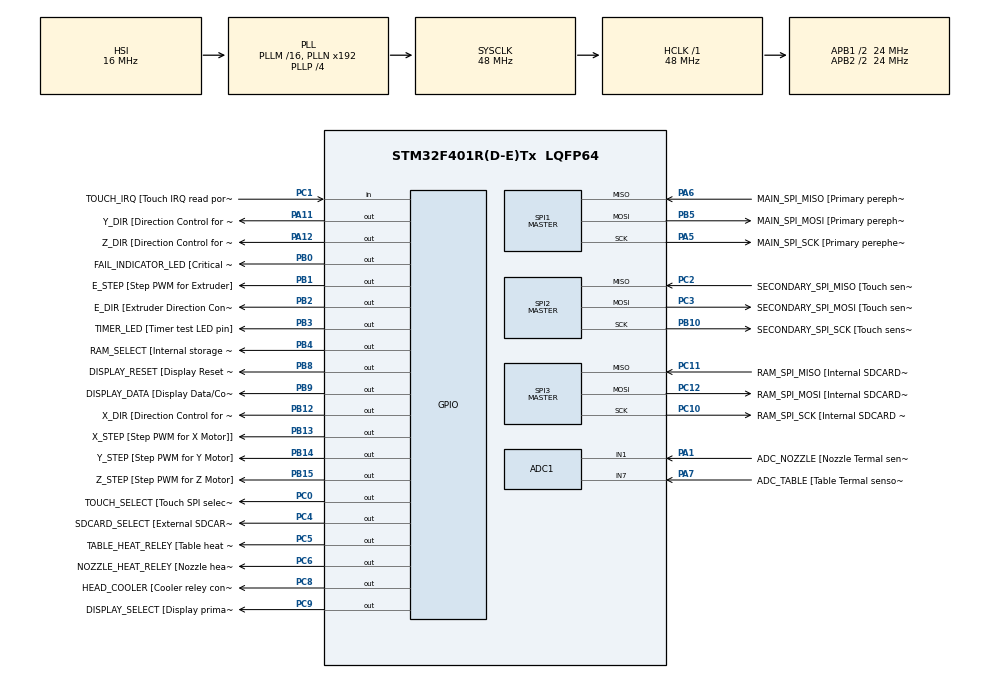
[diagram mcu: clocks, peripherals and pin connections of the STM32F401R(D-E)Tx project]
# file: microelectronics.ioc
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ADC1.Channel-0\#ChannelRegularConversion=ADC_CHANNEL_1
ADC1.Channel-1\#ChannelRegularConversion=ADC_CHANNEL_7
ADC1.ClockPrescaler=ADC_CLOCK_SYNC_PCLK_DIV8
ADC1.NbrOfConversion=2
ADC1.NbrOfConversionFlag=1
ADC1.Rank-0\#ChannelRegularConversion=1
ADC1.Rank-1\#ChannelRegularConversion=2
ADC1.SamplingTime-0\#ChannelRegularConversion=ADC_SAMPLETIME_144CYCLES
ADC1.SamplingTime-1\#ChannelRegularConversion=ADC_SAMPLETIME_144CYCLES
ADC1.master=1
Dma.ADC1.0.Direction=DMA_PERIPH_TO_MEMORY
Dma.ADC1.0.FIFOMode=DMA_FIFOMODE_DISABLE
Dma.ADC1.0.Instance=DMA2_Stream0
Dma.ADC1.0.MemDataAlignment=DMA_MDATAALIGN_HALFWORD
Dma.ADC1.0.MemInc=DMA_MINC_ENABLE
Dma.ADC1.0.Mode=DMA_NORMAL
Dma.ADC1.0.PeriphDataAlignment=DMA_PDATAALIGN_HALFWORD
Dma.ADC1.0.PeriphInc=DMA_PINC_DISABLE
Dma.ADC1.0.Priority=DMA_PRIORITY_LOW
Dma.Request0=ADC1
Mcu.Family=STM32F4
Mcu.Name=STM32F401R(D-E)Tx
Mcu.Package=LQFP64
NVIC.DMA2_Stream0_IRQn=true\:0\:0\:false\:false\:true\:false\:true
NVIC.PriorityGroup=NVIC_PRIORITYGROUP_4
NVIC.TIM3_IRQn=true\:0\:0\:false\:false\:true\:true\:true
PA1.GPIO_Label=ADC_NOZZLE [Nozzle Termal sensor]
PA1.Signal=ADCx_IN1
PA11.GPIO_Label=Y_DIR [Direction Control for Y Motor]
PA11.Signal=GPIO_Output
PA12.GPIO_Label=Z_DIR [Direction Control for Z Motor]
PA12.Signal=GPIO_Output
PA5.GPIO_Label=MAIN_SPI_SCK [Primary perepherial interface]
PA5.Mode=Full_Duplex_Master
PA5.Signal=SPI1_SCK
PA6.GPIO_Label=MAIN_SPI_MISO [Primary perepherial interface]
PA6.Mode=Full_Duplex_Master
PA6.Signal=SPI1_MISO
PA7.GPIO_Label=ADC_TABLE [Table Termal sensor]
PA7.Signal=ADCx_IN7
PB0.GPIO_Label=FAIL_INDICATOR_LED [Critical Failure Detector LED]
PB0.Signal=GPIO_Output
PB1.GPIO_Label=E_STEP [Step PWM for Extruder]
PB1.Signal=GPIO_Output
PB10.GPIO_Label=SECONDARY_SPI_SCK [Touch sensor interface]
PB10.Mode=Full_Duplex_Master
PB10.Signal=SPI2_SCK
PB12.GPIO_Label=X_DIR [Direction Control for X Motor]
PB12.Signal=GPIO_Output
PB13.GPIO_Label=X_STEP [Step PWM for X Motor]]
PB13.Signal=GPIO_Output
PB14.GPIO_Label=Y_STEP [Step PWM for Y Motor]
PB14.Signal=GPIO_Output
PB15.GPIO_Label=Z_STEP [Step PWM for Z Motor]
PB15.Signal=GPIO_Output
PB2.GPIO_Label=E_DIR [Extruder Direction Control]
PB2.Signal=GPIO_Output
PB3.GPIO_Label=TIMER_LED [Timer test LED pin]
PB3.Signal=GPIO_Output
PB4.GPIO_Label=RAM_SELECT [Internal storage SPI selector]
PB4.Signal=GPIO_Output
PB5.GPIO_Label=MAIN_SPI_MOSI [Primary perepherial interface]
PB5.Mode=Full_Duplex_Master
PB5.Signal=SPI1_MOSI
PB8.GPIO_Label=DISPLAY_RESET [Display Reset Signal]
PB8.Signal=GPIO_Output
PB9.GPIO_Label=DISPLAY_DATA [Display Data/Command switch]
PB9.Signal=GPIO_Output
PC0.GPIO_Label=TOUCH_SELECT [Touch SPI selector]
PC0.Signal=GPIO_Output
PC1.GPIO_Label=TOUCH_IRQ [Touch IRQ read port]
PC1.Signal=GPIO_Input
PC10.GPIO_Label=RAM_SPI_SCK [Internal SDCARD connection]
PC10.Mode=Full_Duplex_Master
PC10.Signal=SPI3_SCK
PC11.GPIO_Label=RAM_SPI_MISO [Internal SDCARD connection]
PC11.Mode=Full_Duplex_Master
PC11.Signal=SPI3_MISO
PC12.GPIO_Label=RAM_SPI_MOSI [Internal SDCARD connection]
PC12.Mode=Full_Duplex_Master
PC12.Signal=SPI3_MOSI
PC2.GPIO_Label=SECONDARY_SPI_MISO [Touch sensor interface]
PC2.Mode=Full_Duplex_Master
PC2.Signal=SPI2_MISO
PC3.GPIO_Label=SECONDARY_SPI_MOSI [Touch sensor interface]
PC3.Mode=Full_Duplex_Master
PC3.Signal=SPI2_MOSI
PC4.GPIO_Label=SDCARD_SELECT [External SDCARD primary SPI select]
PC4.Signal=GPIO_Output
PC5.GPIO_Label=TABLE_HEAT_RELEY [Table heat reley]
PC5.Signal=GPIO_Output
PC6.GPIO_Label=NOZZLE_HEAT_RELEY [Nozzle heat reley]
PC6.Signal=GPIO_Output
PC8.GPIO_Label=HEAD_COOLER [Cooler reley controller]
PC8.Signal=GPIO_Output
PC9.GPIO_Label=DISPLAY_SELECT [Display primary SPI  selector]
PC9.Signal=GPIO_Output
ProjectManager.HeapSize=0xf000
ProjectManager.StackSize=0x400
ProjectManager.TargetToolchain=MDK-ARM V5.27
RCC.48MHZClocksFreq_Value=48000000
RCC.AHBFreq_Value=48000000
RCC.APB1CLKDivider=RCC_HCLK_DIV2
RCC.APB1Freq_Value=24000000
RCC.APB1TimFreq_Value=48000000
RCC.APB2CLKDivider=RCC_HCLK_DIV2
RCC.APB2Freq_Value=24000000
RCC.APB2TimFreq_Value=48000000
RCC.CortexFreq_Value=48000000
RCC.HCLKFreq_Value=48000000
RCC.HSE_VALUE=25000000
RCC.HSI_VALUE=16000000
RCC.LSE_VALUE=32768
RCC.PLLP=RCC_PLLP_DIV4
RCC.SYSCLKFreq_VALUE=48000000
RCC.SYSCLKSource=RCC_SYSCLKSOURCE_PLLCLK
RCC.VCOOutputFreq_Value=192000000
SH.ADCx_IN1.0=ADC1_IN1,IN1
SH.ADCx_IN7.0=ADC1_IN7,IN7
SPI1.BaudRatePrescaler=SPI_BAUDRATEPRESCALER_16
SPI1.Direction=SPI_DIRECTION_2LINES
SPI1.Mode=SPI_MODE_MASTER
SPI1.VirtualType=VM_MASTER
SPI2.BaudRatePrescaler=SPI_BAUDRATEPRESCALER_64
SPI2.Direction=SPI_DIRECTION_2LINES
SPI2.Mode=SPI_MODE_MASTER
SPI2.VirtualType=VM_MASTER
SPI3.BaudRatePrescaler=SPI_BAUDRATEPRESCALER_8
SPI3.Direction=SPI_DIRECTION_2LINES
SPI3.Mode=SPI_MODE_MASTER
SPI3.VirtualType=VM_MASTER
TIM3.Period=100
TIM3.Prescaler=47
VP_TIM3_VS_ClockSourceINT.Mode=Internal
board=custom

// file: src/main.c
/* USER CODE BEGIN Header */
/**
  ******************************************************************************
  * @file           : main.c
  * @brief          : Main program body
  ******************************************************************************
  * @attention
  *
  * <h2><center>&copy; Copyright (c) 2022 STMicroelectronics.
  * All rights reserved.</center></h2>
  *
  * This software component is licensed by ST under BSD 3-Clause license,
  * the "License"; You may not use this file except in compliance with the
  * License. You may obtain a copy of the License at:
  *                        opensource.org/licenses/BSD-3-Clause
  *
  ******************************************************************************
  */
/* USER CODE END Header */
#include "main.h"

/* USER CODE BEGIN Includes */
#include "spibus.h"
#include "display.h"
#include "sdcard.h"
#include "touch.h"
#include "termal_regulator.h"
#include "motor.h"

#include "printer.h"
#include "printer_memory_manager.h"

#include <stdio.h>
/* USER CODE END Includes */

ADC_HandleTypeDef hadc1;
DMA_HandleTypeDef hdma_adc1;

SPI_HandleTypeDef hspi1;
SPI_HandleTypeDef hspi2;
SPI_HandleTypeDef hspi3;

TIM_HandleTypeDef htim3;

/* USER CODE BEGIN PV */
Application g_app = {0};
PrinterConfiguration printer_cfg = {0};
/* USER CODE END PV */

void SystemClock_Config(void);
static void MX_GPIO_Init(void);
static void MX_DMA_Init(void);
static void MX_TIM3_Init(void);
static void MX_ADC1_Init(void);
static void MX_SPI1_Init(void);
static void MX_SPI2_Init(void);
static void MX_SPI3_Init(void);
/* USER CODE BEGIN PFP */

void HAL_TIM_PeriodElapsedCallback(TIM_HandleTypeDef* htim)
{
  ++g_app.timer_steps;
  if (10000 == g_app.timer_steps)
  {
    g_app.timer_steps = 0;
    HAL_GPIO_TogglePin(TIMER_LED_GPIO_Port, TIMER_LED_Pin);
  }

  OnTimer(g_app.hprinter);
}

void HAL_ADC_ConvCpltCallback(ADC_HandleTypeDef* hadc)
{
    HAL_ADC_Stop_DMA(hadc);
    g_app.flag = 1;
}

/* USER CODE END PFP */

int main(void)
{

  /* MCU Configuration--------------------------------------------------------*/

  /* Reset of all peripherals, Initializes the Flash interface and the Systick. */
  HAL_Init();

  /* Configure the system clock */
  SystemClock_Config();

  /* Initialize all configured peripherals */
  MX_GPIO_Init();
  MX_DMA_Init();
  MX_TIM3_Init();
  MX_ADC1_Init();
  MX_SPI1_Init();
  MX_SPI2_Init();
  MX_SPI3_Init();
  /* USER CODE BEGIN 2 */
  // Turn off the failure indicator LED
  HAL_GPIO_WritePin(FAIL_INDICATOR_LED_GPIO_Port, FAIL_INDICATOR_LED_Pin, GPIO_PIN_RESET);

  // Enable SPI bus subsystem
  HSPIBUS main_spi  = SPIBUS_Configure(&hspi1, HAL_MAX_DELAY);
  HSPIBUS touch_spi = SPIBUS_Configure(&hspi2, HAL_MAX_DELAY);
  HSPIBUS ram_spi   = SPIBUS_Configure(&hspi3, HAL_MAX_DELAY);

  MemoryManagerConfigure(&printer_cfg.memory_manager);

  // Enable both SDCARDs, external and internal
  printer_cfg.storages[STORAGE_EXTERNAL] = SDCARD_Configure(main_spi, SDCARD_SELECT_GPIO_Port, SDCARD_SELECT_Pin);
  SDCARD_Init(printer_cfg.storages[STORAGE_EXTERNAL]);
  SDCARD_ReadBlocksNumber(printer_cfg.storages[STORAGE_EXTERNAL]);

  printer_cfg.storages[STORAGE_INTERNAL] = SDCARD_Configure(ram_spi, RAM_SELECT_GPIO_Port, RAM_SELECT_Pin);
  SDCARD_Init(printer_cfg.storages[STORAGE_INTERNAL]);
  SDCARD_ReadBlocksNumber(printer_cfg.storages[STORAGE_INTERNAL]);

  // Enable display and its touch
  DisplayConfig display_cfg =
  {
    main_spi,
    DISPLAY_DATA_GPIO_Port, DISPLAY_DATA_Pin,
    DISPLAY_SELECT_GPIO_Port, DISPLAY_SELECT_Pin,
    DISPLAY_RESET_GPIO_Port, DISPLAY_RESET_Pin
  };
  g_app.hdisplay = DISPLAY_Configure(&display_cfg);
  printer_cfg.hdisplay = g_app.hdisplay;
  if (!printer_cfg.hdisplay)
  {
    Error_Handler();
  }

  if (DISPLAY_OK != DISPLAY_Init(printer_cfg.hdisplay))
  {
    Error_Handler();
  }

  TouchConfig touch_config =
  {
    touch_spi,
    TOUCH_SELECT_GPIO_Port, TOUCH_SELECT_Pin,
    TOUCH_IRQ_GPIO_Port, TOUCH_IRQ_Pin
  };
  printer_cfg.htouch = TOUCH_Configure(&touch_config);
  if (!printer_cfg.htouch)
  {
    Error_Handler();
  }

  // Enable motors
  MotorConfig x_motor =
  {
    PULSE_LOWER,
    X_STEP_GPIO_Port, X_STEP_Pin,
    X_DIR_GPIO_Port,  X_DIR_Pin,
  };
  printer_cfg.motors[MOTOR_X] = MOTOR_Configure(&x_motor);

  MotorConfig y_motor =
  {
    PULSE_LOWER,
    Y_STEP_GPIO_Port, Y_STEP_Pin,
    Y_DIR_GPIO_Port,  Y_DIR_Pin,
  };
  printer_cfg.motors[MOTOR_Y] = MOTOR_Configure(&y_motor);

  MotorConfig z_motor =
  {
    PULSE_LOWER,
    Z_STEP_GPIO_Port, Z_STEP_Pin,
    Z_DIR_GPIO_Port,  Z_DIR_Pin,
  };
  printer_cfg.motors[MOTOR_Z] = MOTOR_Configure(&z_motor);

  MotorConfig extruder =
  {
    PULSE_LOWER,
    E_STEP_GPIO_Port, E_STEP_Pin,
    E_DIR_GPIO_Port,  E_DIR_Pin,
  };
  printer_cfg.motors[MOTOR_E] = MOTOR_Configure(&extruder);

  // Enable termal sensors
  TermalRegulatorConfig nozzle_cfg =
  {
    NOZZLE_HEAT_RELEY_GPIO_Port, NOZZLE_HEAT_RELEY_Pin,
    GPIO_PIN_SET, GPIO_PIN_RESET,
    0.467, -1065
  };
  TermalRegulatorConfig table_cfg  =
  {
    TABLE_HEAT_RELEY_GPIO_Port, TABLE_HEAT_RELEY_Pin,
    GPIO_PIN_RESET, GPIO_PIN_SET,
    -0.033, 142
  };

  printer_cfg.termal_regulators[TERMO_NOZZLE] = TR_Configure(&nozzle_cfg);
  printer_cfg.termal_regulators[TERMO_TABLE]  = TR_Configure(&table_cfg);

  // Enable head cooler
  printer_cfg.cooler_port = HEAD_COOLER_GPIO_Port;
  printer_cfg.cooler_pin  = HEAD_COOLER_Pin;

  g_app.hprinter = Configure(&printer_cfg);

  // Enable ADC DMA and Timer
  HAL_ADC_Start_DMA(&hadc1, (uint32_t*)g_app.voltage, 2);
  // Timer controls main motor controlling thread.
  HAL_TIM_Base_Start_IT(&htim3);
  /* USER CODE END 2 */

  /* Infinite loop */
  /* USER CODE BEGIN WHILE */
  while (1)
  {
    MainLoop(g_app.hprinter);
    /* USER CODE END WHILE */

    /* USER CODE BEGIN 3 */
    if (g_app.flag)
    {
      ReadADCValue(g_app.hprinter, TERMO_NOZZLE, g_app.voltage[0]);
      ReadADCValue(g_app.hprinter, TERMO_TABLE, g_app.voltage[1]);
      g_app.flag = 0;
      HAL_ADC_Start_DMA(&hadc1, (uint32_t*)g_app.voltage, 2);
    }
    HAL_Delay(10);
  }
  /* USER CODE END 3 */
}

void SystemClock_Config(void)
{
  RCC_OscInitTypeDef RCC_OscInitStruct = {0};
  RCC_ClkInitTypeDef RCC_ClkInitStruct = {0};

  /** Configure the main internal regulator output voltage
  */
  __HAL_RCC_PWR_CLK_ENABLE();
  __HAL_PWR_VOLTAGESCALING_CONFIG(PWR_REGULATOR_VOLTAGE_SCALE2);
  /** Initializes the RCC Oscillators according to the specified parameters
  * in the RCC_OscInitTypeDef structure.
  */
  RCC_OscInitStruct.OscillatorType = RCC_OSCILLATORTYPE_HSI;
  RCC_OscInitStruct.HSIState = RCC_HSI_ON;
  RCC_OscInitStruct.HSICalibrationValue = RCC_HSICALIBRATION_DEFAULT;
  RCC_OscInitStruct.PLL.PLLState = RCC_PLL_ON;
  RCC_OscInitStruct.PLL.PLLSource = RCC_PLLSOURCE_HSI;
  RCC_OscInitStruct.PLL.PLLM = 16;
  RCC_OscInitStruct.PLL.PLLN = 192;
  RCC_OscInitStruct.PLL.PLLP = RCC_PLLP_DIV4;
  RCC_OscInitStruct.PLL.PLLQ = 4;
  if (HAL_RCC_OscConfig(&RCC_OscInitStruct) != HAL_OK)
  {
    Error_Handler();
  }
  /** Initializes the CPU, AHB and APB buses clocks
  */
  RCC_ClkInitStruct.ClockType = RCC_CLOCKTYPE_HCLK|RCC_CLOCKTYPE_SYSCLK
                              |RCC_CLOCKTYPE_PCLK1|RCC_CLOCKTYPE_PCLK2;
  RCC_ClkInitStruct.SYSCLKSource = RCC_SYSCLKSOURCE_PLLCLK;
  RCC_ClkInitStruct.AHBCLKDivider = RCC_SYSCLK_DIV1;
  RCC_ClkInitStruct.APB1CLKDivider = RCC_HCLK_DIV2;
  RCC_ClkInitStruct.APB2CLKDivider = RCC_HCLK_DIV2;

  if (HAL_RCC_ClockConfig(&RCC_ClkInitStruct, FLASH_LATENCY_1) != HAL_OK)
  {
    Error_Handler();
  }
}

static void MX_ADC1_Init(void)
{

  ADC_ChannelConfTypeDef sConfig = {0};

  /** Configure the global features of the ADC (Clock, Resolution, Data Alignment and number of conversion)
  */
  hadc1.Instance = ADC1;
  hadc1.Init.ClockPrescaler = ADC_CLOCK_SYNC_PCLK_DIV8;
  hadc1.Init.Resolution = ADC_RESOLUTION_12B;
  hadc1.Init.ScanConvMode = ENABLE;
  hadc1.Init.ContinuousConvMode = DISABLE;
  hadc1.Init.DiscontinuousConvMode = DISABLE;
  hadc1.Init.ExternalTrigConvEdge = ADC_EXTERNALTRIGCONVEDGE_NONE;
  hadc1.Init.ExternalTrigConv = ADC_SOFTWARE_START;
  hadc1.Init.DataAlign = ADC_DATAALIGN_RIGHT;
  hadc1.Init.NbrOfConversion = 2;
  hadc1.Init.DMAContinuousRequests = DISABLE;
  hadc1.Init.EOCSelection = ADC_EOC_SINGLE_CONV;
  if (HAL_ADC_Init(&hadc1) != HAL_OK)
  {
    Error_Handler();
  }
  /** Configure for the selected ADC regular channel its corresponding rank in the sequencer and its sample time.
  */
  sConfig.Channel = ADC_CHANNEL_1;
  sConfig.Rank = 1;
  sConfig.SamplingTime = ADC_SAMPLETIME_144CYCLES;
  if (HAL_ADC_ConfigChannel(&hadc1, &sConfig) != HAL_OK)
  {
    Error_Handler();
  }
  /** Configure for the selected ADC regular channel its corresponding rank in the sequencer and its sample time.
  */
  sConfig.Channel = ADC_CHANNEL_7;
  sConfig.Rank = 2;
  if (HAL_ADC_ConfigChannel(&hadc1, &sConfig) != HAL_OK)
  {
    Error_Handler();
  }

}

static void MX_SPI1_Init(void)
{

  /* SPI1 parameter configuration*/
  hspi1.Instance = SPI1;
  hspi1.Init.Mode = SPI_MODE_MASTER;
  hspi1.Init.Direction = SPI_DIRECTION_2LINES;
  hspi1.Init.DataSize = SPI_DATASIZE_8BIT;
  hspi1.Init.CLKPolarity = SPI_POLARITY_LOW;
  hspi1.Init.CLKPhase = SPI_PHASE_1EDGE;
  hspi1.Init.NSS = SPI_NSS_SOFT;
  hspi1.Init.BaudRatePrescaler = SPI_BAUDRATEPRESCALER_16;
  hspi1.Init.FirstBit = SPI_FIRSTBIT_MSB;
  hspi1.Init.TIMode = SPI_TIMODE_DISABLE;
  hspi1.Init.CRCCalculation = SPI_CRCCALCULATION_DISABLE;
  hspi1.Init.CRCPolynomial = 10;
  if (HAL_SPI_Init(&hspi1) != HAL_OK)
  {
    Error_Handler();
  }

}

static void MX_SPI2_Init(void)
{

  /* SPI2 parameter configuration*/
  hspi2.Instance = SPI2;
  hspi2.Init.Mode = SPI_MODE_MASTER;
  hspi2.Init.Direction = SPI_DIRECTION_2LINES;
  hspi2.Init.DataSize = SPI_DATASIZE_8BIT;
  hspi2.Init.CLKPolarity = SPI_POLARITY_LOW;
  hspi2.Init.CLKPhase = SPI_PHASE_1EDGE;
  hspi2.Init.NSS = SPI_NSS_SOFT;
  hspi2.Init.BaudRatePrescaler = SPI_BAUDRATEPRESCALER_64;
  hspi2.Init.FirstBit = SPI_FIRSTBIT_MSB;
  hspi2.Init.TIMode = SPI_TIMODE_DISABLE;
  hspi2.Init.CRCCalculation = SPI_CRCCALCULATION_DISABLE;
  hspi2.Init.CRCPolynomial = 10;
  if (HAL_SPI_Init(&hspi2) != HAL_OK)
  {
    Error_Handler();
  }

}

static void MX_SPI3_Init(void)
{

  /* SPI3 parameter configuration*/
  hspi3.Instance = SPI3;
  hspi3.Init.Mode = SPI_MODE_MASTER;
  hspi3.Init.Direction = SPI_DIRECTION_2LINES;
  hspi3.Init.DataSize = SPI_DATASIZE_8BIT;
  hspi3.Init.CLKPolarity = SPI_POLARITY_LOW;
  hspi3.Init.CLKPhase = SPI_PHASE_1EDGE;
  hspi3.Init.NSS = SPI_NSS_SOFT;
  hspi3.Init.BaudRatePrescaler = SPI_BAUDRATEPRESCALER_8;
  hspi3.Init.FirstBit = SPI_FIRSTBIT_MSB;
  hspi3.Init.TIMode = SPI_TIMODE_DISABLE;
  hspi3.Init.CRCCalculation = SPI_CRCCALCULATION_DISABLE;
  hspi3.Init.CRCPolynomial = 10;
  if (HAL_SPI_Init(&hspi3) != HAL_OK)
  {
    Error_Handler();
  }

}

static void MX_TIM3_Init(void)
{

  TIM_ClockConfigTypeDef sClockSourceConfig = {0};
  TIM_MasterConfigTypeDef sMasterConfig = {0};

  htim3.Instance = TIM3;
  htim3.Init.Prescaler = 47;
  htim3.Init.CounterMode = TIM_COUNTERMODE_UP;
  htim3.Init.Period = 100;
  htim3.Init.ClockDivision = TIM_CLOCKDIVISION_DIV1;
  htim3.Init.AutoReloadPreload = TIM_AUTORELOAD_PRELOAD_DISABLE;
  if (HAL_TIM_Base_Init(&htim3) != HAL_OK)
  {
    Error_Handler();
  }
  sClockSourceConfig.ClockSource = TIM_CLOCKSOURCE_INTERNAL;
  if (HAL_TIM_ConfigClockSource(&htim3, &sClockSourceConfig) != HAL_OK)
  {
    Error_Handler();
  }
  sMasterConfig.MasterOutputTrigger = TIM_TRGO_RESET;
  sMasterConfig.MasterSlaveMode = TIM_MASTERSLAVEMODE_DISABLE;
  if (HAL_TIMEx_MasterConfigSynchronization(&htim3, &sMasterConfig) != HAL_OK)
  {
    Error_Handler();
  }

}

static void MX_DMA_Init(void)
{

  /* DMA controller clock enable */
  __HAL_RCC_DMA2_CLK_ENABLE();

  /* DMA interrupt init */
  /* DMA2_Stream0_IRQn interrupt configuration */
  HAL_NVIC_SetPriority(DMA2_Stream0_IRQn, 0, 0);
  HAL_NVIC_EnableIRQ(DMA2_Stream0_IRQn);

}

static void MX_GPIO_Init(void)
{
  GPIO_InitTypeDef GPIO_InitStruct = {0};

  /* GPIO Ports Clock Enable */
  __HAL_RCC_GPIOC_CLK_ENABLE();
  __HAL_RCC_GPIOA_CLK_ENABLE();
  __HAL_RCC_GPIOB_CLK_ENABLE();

  /*Configure GPIO pin Output Level */
  HAL_GPIO_WritePin(GPIOC, TOUCH_SELECT_Pin|SDCARD_SELECT_Pin|TABLE_HEAT_RELEY_Pin|NOZZLE_HEAT_RELEY_Pin
                          |HEAD_COOLER_Pin|DISPLAY_SELECT_Pin, GPIO_PIN_RESET);

  /*Configure GPIO pin Output Level */
  HAL_GPIO_WritePin(GPIOB, FAIL_INDICATOR_LED_Pin|E_STEP_Pin|E_DIR_Pin|X_DIR_Pin
                          |X_STEP_Pin|Y_STEP_Pin|Z_STEP_Pin|TIMER_LED_Pin
                          |RAM_SELECT_Pin|DISPLAY_RESET_Pin|DISPLAY_DATA_Pin, GPIO_PIN_RESET);

  /*Configure GPIO pin Output Level */
  HAL_GPIO_WritePin(GPIOA, Y_DIR_Pin|Z_DIR_Pin, GPIO_PIN_RESET);

  /*Configure GPIO pins : TOUCH_SELECT_Pin SDCARD_SELECT_Pin TABLE_HEAT_RELEY_Pin NOZZLE_HEAT_RELEY_Pin
                           HEAD_COOLER_Pin DISPLAY_SELECT_Pin */
  GPIO_InitStruct.Pin = TOUCH_SELECT_Pin|SDCARD_SELECT_Pin|TABLE_HEAT_RELEY_Pin|NOZZLE_HEAT_RELEY_Pin
                          |HEAD_COOLER_Pin|DISPLAY_SELECT_Pin;
  GPIO_InitStruct.Mode = GPIO_MODE_OUTPUT_PP;
  GPIO_InitStruct.Pull = GPIO_NOPULL;
  GPIO_InitStruct.Speed = GPIO_SPEED_FREQ_LOW;
  HAL_GPIO_Init(GPIOC, &GPIO_InitStruct);

  /*Configure GPIO pin : TOUCH_IRQ_Pin */
  GPIO_InitStruct.Pin = TOUCH_IRQ_Pin;
  GPIO_InitStruct.Mode = GPIO_MODE_INPUT;
  GPIO_InitStruct.Pull = GPIO_NOPULL;
  HAL_GPIO_Init(TOUCH_IRQ_GPIO_Port, &GPIO_InitStruct);

  /*Configure GPIO pins : FAIL_INDICATOR_LED_Pin E_STEP_Pin E_DIR_Pin X_DIR_Pin
                           X_STEP_Pin Y_STEP_Pin Z_STEP_Pin TIMER_LED_Pin
                           RAM_SELECT_Pin DISPLAY_RESET_Pin DISPLAY_DATA_Pin */
  GPIO_InitStruct.Pin = FAIL_INDICATOR_LED_Pin|E_STEP_Pin|E_DIR_Pin|X_DIR_Pin
                          |X_STEP_Pin|Y_STEP_Pin|Z_STEP_Pin|TIMER_LED_Pin
                          |RAM_SELECT_Pin|DISPLAY_RESET_Pin|DISPLAY_DATA_Pin;
  GPIO_InitStruct.Mode = GPIO_MODE_OUTPUT_PP;
  GPIO_InitStruct.Pull = GPIO_NOPULL;
  GPIO_InitStruct.Speed = GPIO_SPEED_FREQ_LOW;
  HAL_GPIO_Init(GPIOB, &GPIO_InitStruct);

  /*Configure GPIO pins : Y_DIR_Pin Z_DIR_Pin */
  GPIO_InitStruct.Pin = Y_DIR_Pin|Z_DIR_Pin;
  GPIO_InitStruct.Mode = GPIO_MODE_OUTPUT_PP;
  GPIO_InitStruct.Pull = GPIO_NOPULL;
  GPIO_InitStruct.Speed = GPIO_SPEED_FREQ_LOW;
  HAL_GPIO_Init(GPIOA, &GPIO_InitStruct);

}

void Error_Handler(void)
{
  __disable_irq();
  while (1)
  {
  }
}

/************************ (C) COPYRIGHT STMicroelectronics *****END OF FILE****/
